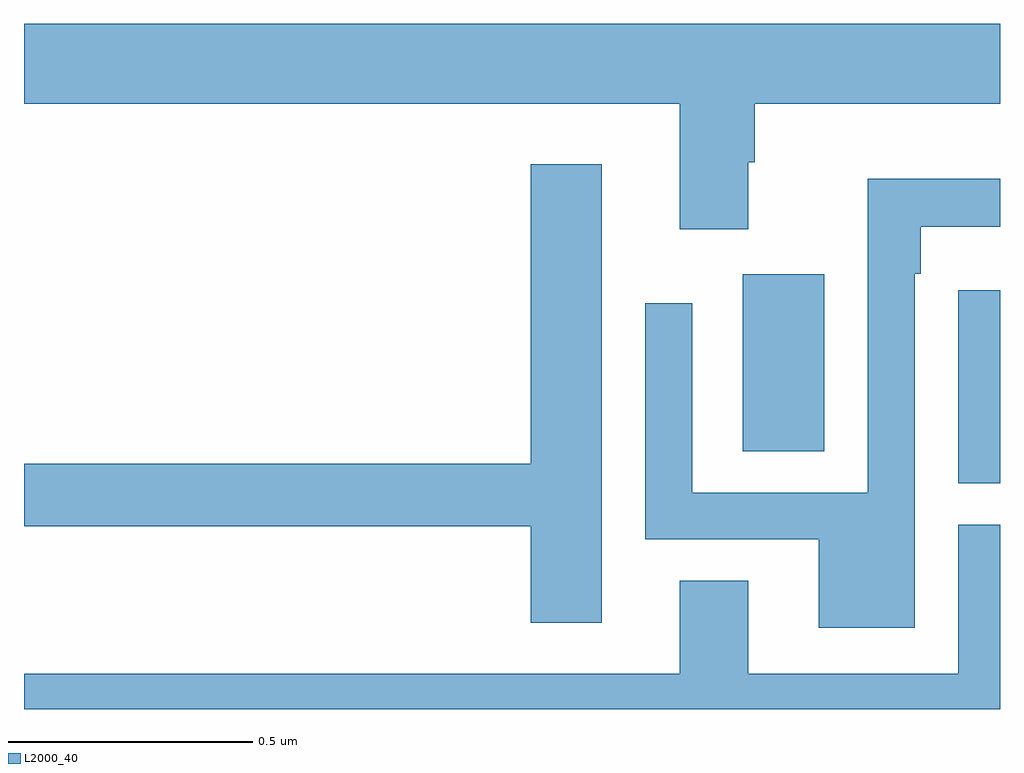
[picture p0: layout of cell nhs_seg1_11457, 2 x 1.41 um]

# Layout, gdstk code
import gdstk
lib = gdstk.Library(unit=1e-6, precision=1e-09)
def R(c, l, rs):  # rectangles x0, y0, x1, y1
    for r in rs: c.add(gdstk.rectangle(r[:2], r[2:], *l))
def P(c, l, *ps):  # polygons
    for p in ps: c.add(gdstk.Polygon(p, *l))
L2000_40 = (2000, 40)

nhs_seg1_11457 = lib.new_cell('nhs_seg1_11457')
R(nhs_seg1_11457, L2000_40, [(255.914,509.662,256,510.058), (255.473,509.728,255.64,510.091)])
P(nhs_seg1_11457, L2000_40, [(255.484,510.32),(255.497,510.32),(255.497,510.44),(256,510.44),(256,510.604),(254,510.604),(254,510.44),(255.344,510.44),(255.344,510.183),(255.484,510.183)],
  [(255.184,510.316),(255.038,510.316),(255.038,509.702),(254,509.702),(254,509.574),(255.038,509.574),(255.038,509.376),(255.184,509.376)],
  [(255.825,510.092),(255.838,510.092),(255.838,510.188),(256,510.188),(256,510.286),(255.729,510.286),(255.729,509.643),(255.369,509.643),(255.369,510.031),(255.273,510.031),(255.273,509.547),(255.629,509.547),(255.629,509.366),(255.825,509.366)],
  [(256,509.577),(255.914,509.577),(255.914,509.272),(255.484,509.272),(255.484,509.462),(255.344,509.462),(255.344,509.272),(254,509.272),(254,509.199),(256,509.199)])

lib.write_gds('nhs_seg1_11457.gds')
